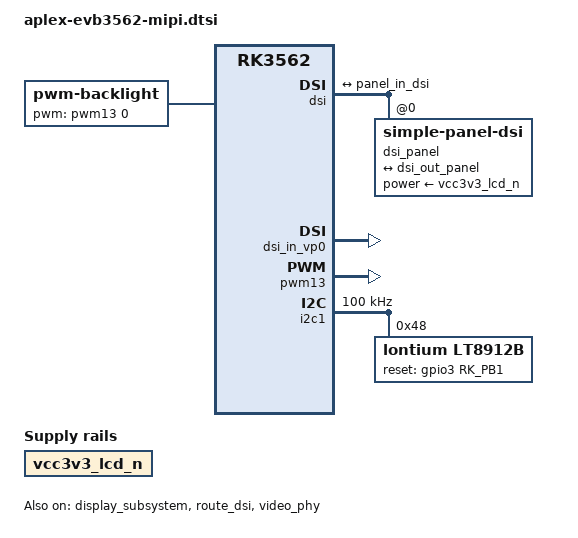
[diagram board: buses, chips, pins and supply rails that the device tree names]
// SPDX-License-Identifier: (GPL-2.0+ OR MIT)
/*
 * Copyright (c) 2022 Rockchip Electronics Co., Ltd.
 *
 */

#include <dt-bindings/display/drm_mipi_dsi.h>
#include <dt-bindings/gpio/gpio.h>
#include <dt-bindings/pinctrl/rockchip.h>

#include "rk3562.dtsi"
#include "rk3562-linux.dtsi"
#include "rk3562-rk809.dtsi"
#include <dt-bindings/sensor-dev.h>
#include <dt-bindings/input/input.h>


/ {
	backlight: backlight {
		compatible = "pwm-backlight";
		//pwms = <&pwm4 0 25000 0>;
		pwms = <&pwm13 0 25000 0>;
		brightness-levels = <
			  0  20  20  21  21  22  22  23
			 23  24  24  25  25  26  26  27
			 27  28  28  29  29  30  30  31
			 31  32  32  33  33  34  34  35
			 35  36  36  37  37  38  38  39
			 40  41  42  43  44  45  46  47
			 48  49  50  51  52  53  54  55
			 56  57  58  59  60  61  62  63
			 64  65  66  67  68  69  70  71
			 72  73  74  75  76  77  78  79
			 80  81  82  83  84  85  86  87
			 88  89  90  91  92  93  94  95
			 96  97  98  99 100 101 102 103
			104 105 106 107 108 109 110 111
			112 113 114 115 116 117 118 119
			120 121 122 123 124 125 126 127
			128 129 130 131 132 133 134 135
			136 137 138 139 140 141 142 143
			144 145 146 147 148 149 150 151
			152 153 154 155 156 157 158 159
			160 161 162 163 164 165 166 167
			168 169 170 171 172 173 174 175
			176 177 178 179 180 181 182 183
			184 185 186 187 188 189 190 191
			192 193 194 195 196 197 198 199
			200 201 202 203 204 205 206 207
			208 209 210 211 212 213 214 215
			216 217 218 219 220 221 222 223
			224 225 226 227 228 229 230 231
			232 233 234 235 236 237 238 239
			240 241 242 243 244 245 246 247
			248 249 250 251 252 253 254 255
		>;
		default-brightness-level = <200>;
	};

	vcc3v3_lcd_n: vcc3v3-lcd0-n {
		compatible = "regulator-fixed";
		regulator-name = "vcc3v3_lcd_n";
		regulator-boot-on;
		regulator-state-mem {
			regulator-off-in-suspend;
		};
	};
};

&display_subsystem {
	status = "okay";
};

&dsi {
	status = "okay";
	//rockchip,lane-rate = <1454>;
	dsi_panel: panel@0 {
		status = "okay";
		compatible = "simple-panel-dsi";
		reg = <0>;
		power-supply = <&vcc3v3_lcd_n>;
		pinctrl-names = "default";
		// pinctrl-0 = <&lcd_rst_gpio>;
		//reset-gpios = <&gpio3 RK_PA0 GPIO_ACTIVE_LOW>;
//		reset-gpios = <&gpio3 RK_PA0 GPIO_ACTIVE_LOW>;
		
//		backlight = <&backlight>;
		reset-delay-ms = <60>;
		enable-delay-ms = <60>;
		prepare-delay-ms = <60>;
		unprepare-delay-ms = <60>;
		disable-delay-ms = <60>;
		init-delay-ms = <60>;
/*
		reset-delay-ms = <10>;
		enable-delay-ms = <100>;
		prepare-delay-ms = <100>;
		unprepare-delay-ms = <20>;
		disable-delay-ms = <50>;
*/

//		dsi,flags = <(MIPI_DSI_MODE_VIDEO | MIPI_DSI_MODE_VIDEO_BURST |
//			MIPI_DSI_MODE_LPM | MIPI_DSI_MODE_EOT_PACKET)>;
        dsi,flags = <(MIPI_DSI_MODE_VIDEO | MIPI_DSI_MODE_VIDEO_BURST |
                MIPI_DSI_MODE_VIDEO_HBP | MIPI_DSI_MODE_EOT_PACKET)>;



//		dsi,flags = <(MIPI_DSI_MODE_VIDEO | MIPI_DSI_MODE_VIDEO_BURST | MIPI_DSI_MODE_VIDEO_NO_HBP | 
//			MIPI_DSI_MODE_LPM | MIPI_DSI_MODE_NO_EOT_PACKET)>;
		dsi,format = <MIPI_DSI_FMT_RGB888>;
		dsi,lanes  = <4>;


		disp_timings0: display-timings { 
			native-mode = <&dsi_timing0>;
			dsi_timing0: timing0 {
            		    hfront-porch    = <88>;
            		    hsync-len       = <44>;
            		    hback-porch     = <148>;
            		    hactive         = <1920>;
            		    vfront-porch    = <4>;
            		    vsync-len       = <5>;
            		    vback-porch     = <36>;
            		    vactive         = <1080>;
            		    vsync-active    = <0>;
            		    hsync-active    = <0>;
            		    de-active       = <0>;
            		    pixelclk-active = <0>;
            		    clock-frequency = <148500000>;
/*
            		    hfront-porch    = <110>;
            		    hsync-len       = <40>;
            		    hback-porch     = <220>;
            		    hactive         = <1280>;
            		    vfront-porch    = <5>;
            		    vsync-len       = <5>;
            		    vback-porch     = <20>;
            		    vactive         = <720>;
            		    vsync-active    = <0>;
            		    hsync-active    = <0>;
            		    de-active       = <0>;
            		    pixelclk-active = <0>;
            		    clock-frequency = <85000000>;
*/

				#if 0 //嘉强 HT101SIB 10.1 寸
				clock-frequency = <72000000>;
				hactive = <800>;
				vactive = <1280>;
				hfront-porch = <52>;
				hsync-len = <4>;
				hback-porch = <12>;
				vfront-porch = <60>;
				vsync-len = <18>;
				vback-porch = <50>;
				hsync-active = <0>;
				vsync-active = <0>;
				de-active = <0>;
				pixelclk-active = <1>;
				#endif			

				#if 0 //嘉强 9G-12101 10.1 寸 
				clock-frequency = <72000000>;
				hactive = <800>;
				vactive = <1280>;

				hfront-porch = <80>;    
				hsync-len = <20>;       
				hback-porch = <80>; 

				vfront-porch = <20>;     
				vsync-len = <4>;        
				vback-porch = <12>;  

				hsync-active = <0>;     
				vsync-active = <0>;     
				pixelclk-active = <1>;  
				#endif
			};
		};

		ports {
			#address-cells = <1>;
			#size-cells = <0>;

			port@0 {
				reg = <0>;
				panel_in_dsi: endpoint {
					remote-endpoint = <&dsi_out_panel>;
				};
			};
		};
	};

	ports {
		#address-cells = <1>;
		#size-cells = <0>;

		port@1 {
			reg = <1>;
			dsi_out_panel: endpoint {
				remote-endpoint = <&panel_in_dsi>;
			};
		};
	};
};

&display_subsystem {
        status = "okay";
};

&route_dsi {
	status = "okay";
};

&dsi_in_vp0 {
	status = "okay";
};

&video_phy {
	status = "okay";
};

/*
&pwm4 {
	pinctrl-0 = <&pwm4m0_pins>;
	status = "okay";
};*/

&pwm13 {
        pinctrl-0 = <&pwm13m1_pins>;
        status = "okay";
};

/*
&i2c2 {
	status = "okay";
	gt911@14 {
		compatible = "goodix,gt9xx";
		reg = <0x14>;
		pinctrl-names = "default";
		pinctrl-0 = <&touch_gpio>;
		goodix_irq_gpio = <&gpio0 RK_PB6 IRQ_TYPE_LEVEL_LOW>;
		goodix_rst_gpio = <&gpio0 RK_PB5 GPIO_ACTIVE_HIGH>;
		touchscreen-swapped-x-y;
		touchscreen-inverted-y;
		status = "okay";
	};
};*/

&i2c1 {
	status = "okay";
	pinctrl-0 = <&i2c1m0_xfer>;
	// pinctrl-0 = <&i2c3m0_xfer>;
	clock-frequency = <100000>;
	lt8912b: lt8912b@48 {
		reg = <0x48>;
		compatible = "lontium,lt8912b";
		reset-gpios = <&gpio3 RK_PB1 GPIO_ACTIVE_HIGH>;
		status = "okay";
	

		 lt8912b_addr_1:lt8912b_addr_1@49 {
		 	addr_1_reg = /bits/ 8 <0x49>;
		 };

		 lt8912b_addr_2:lt8912b_addr_2@4a {
		 	addr_2_reg = /bits/ 8 <0x4a>;
		 };

	};

/*
        lt8912b: lt8912b@48{
                compatible = "lontium,lt8912b";
                reg = <0x48>;
                //interrupts = <RK_PB6 IRQ_TYPE_LEVEL_LOW>;
                //mux-gpios = <&gpio0 RK_PB6 GPIO_ACTIVE_LOW>;
		//reset-gpios = <&gpio0 RK_PB6 GPIO_ACTIVE_HIGH>;
                status = "okay";
        };
*/
};




&pinctrl {
	/*
	touch {
		touch_gpio: touch-gpio {
			rockchip,pins =
				<0 RK_PB6 RK_FUNC_GPIO &pcfg_pull_up>,
				<0 RK_PB5 RK_FUNC_GPIO &pcfg_pull_none>;
		};
	};*/

//	lcd {
//		lcd_rst_gpio: lcd-rst-gpio {
//			rockchip,pins = <3 RK_PB6 RK_FUNC_GPIO &pcfg_pull_none>;
//		};
//	};
};

